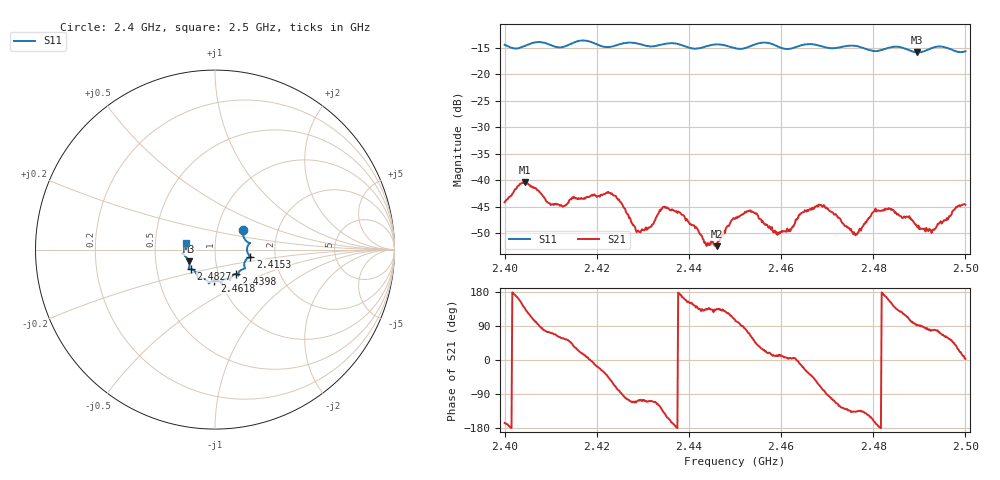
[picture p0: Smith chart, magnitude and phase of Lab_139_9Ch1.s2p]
# Hz S RI R 50
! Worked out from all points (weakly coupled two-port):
!   601 points, 2.4 GHz to 2.5 GHz, reference 50 ohm
!   highest |S21| = -40.36 dB at 2.4045 GHz (marker M1); lowest = -52.4 dB at 2.446 GHz (marker M2)
!   lowest |S11| = -15.9 dB at 2.4895 GHz (marker M3), VSWR 1.38, Z = 37 - j5.02 ohm
!   |S11| at or under -10 dB: start of sweep to end of sweep
!   S12 and S22 are empty: the file has one direction only
!   S11 on the Smith chart (normalised r, x): 2.4 GHz: 1.33, +0.30; 2.4153 GHz: 1.48, -0.12; 2.4398 GHz: 1.21, -0.34; 2.4618 GHz: 0.94, -0.33; 2.4827 GHz: 0.75, -0.17; 2.5 GHz: 0.72, +0.06
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2.4e9  0.1552 0.1073  -0.00602 -0.00149  0 0  0 0
2.4045e9  0.1797 0.0428  -0.00664 0.00692  0 0  0 0
2.410167e9  0.1846 0.0246  0.00198 0.00558  0 0  0 0
2.415333e9  0.1964 -0.0392  0.00571 0.0036  0 0  0 0
2.416667e9  0.2023 -0.0431  0.00649 0.00208  0 0  0 0
2.4235e9  0.1628 -0.0826  0.00351 -0.00636  0 0  0 0
2.429e9  0.1616 -0.1063  -0.000976 -0.00322  0 0  0 0
2.433333e9  0.1295 -0.1339  -0.00233 -0.00423  0 0  0 0
2.439833e9  0.1154 -0.1355  -0.00369 0.00175  0 0  0 0
2.446e9  0.0847 -0.1705  -0.00168 0.00171  0 0  0 0
2.45e9  0.0656 -0.1623  -0.00117 0.00416  0 0  0 0
2.453333e9  0.0373 -0.1791  0.00227 0.00469  0 0  0 0
2.458667e9  0.0333 -0.1842  0.0033 0.000603  0 0  0 0
2.461833e9  -0.00339 -0.1728  0.00343 0.000321  0 0  0 0
2.466667e9  -0.0348 -0.1881  0.00404 -0.00371  0 0  0 0
2.469667e9  -0.0449 -0.1726  0.000331 -0.00547  0 0  0 0
2.476167e9  -0.0957 -0.1573  -0.0022 -0.00208  0 0  0 0
2.482667e9  -0.1349 -0.1085  -0.00516 0.00114  0 0  0 0
2.483333e9  -0.1399 -0.108  -0.00507 0.00206  0 0  0 0
2.4895e9  -0.1457 -0.0661  -7.98e-05 0.00367  0 0  0 0
2.493e9  -0.1758 -0.0269  0.000671 0.00337  0 0  0 0
2.5e9  -0.1593 0.0384  0.00588 0.000306  0 0  0 0
